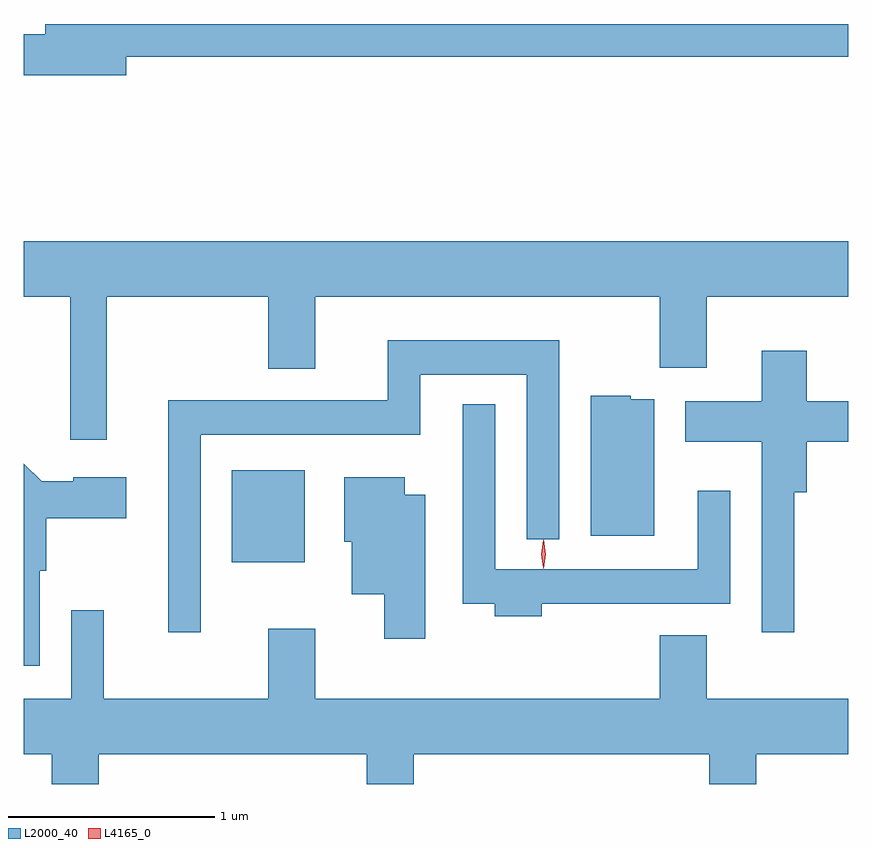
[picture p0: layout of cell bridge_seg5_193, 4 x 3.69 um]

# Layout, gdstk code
import gdstk
lib = gdstk.Library(unit=1e-6, precision=1e-09)
def R(c, l, rs):  # rectangles x0, y0, x1, y1
    for r in rs: c.add(gdstk.rectangle(r[:2], r[2:], *l))
def P(c, l, *ps):  # polygons
    for p in ps: c.add(gdstk.Polygon(p, *l))
L2000_40 = (2000, 40)
L4165_0 = (4165, 0)

bridge_seg5_193 = lib.new_cell('bridge_seg5_193')
R(bridge_seg5_193, L2000_40, [(1289.776,1424.426,1290.129,1424.874)])
P(bridge_seg5_193, L2000_40, [(1289.264,1426.881),(1292.766,1426.881),(1292.766,1427.039),(1288.871,1427.039),(1288.871,1426.989),(1288.766,1426.989),(1288.766,1426.791),(1289.264,1426.791)],
  [(1289.169,1425.716),(1289.951,1425.716),(1289.951,1425.366),(1290.179,1425.366),(1290.179,1425.716),(1291.851,1425.716),(1291.851,1425.371),(1292.079,1425.371),(1292.079,1425.716),(1292.766,1425.716),(1292.766,1425.984),(1288.766,1425.984),(1288.766,1425.716),(1288.991,1425.716),(1288.991,1425.021),(1289.169,1425.021)],
  [(1289.624,1425.046),(1290.689,1425.046),(1290.689,1425.336),(1291.206,1425.336),(1291.206,1424.538),(1291.364,1424.538),(1291.364,1425.504),(1290.531,1425.504),(1290.531,1425.214),(1289.466,1425.214),(1289.466,1424.088),(1289.624,1424.088)],
  [(1292.504,1424.766),(1292.564,1424.766),(1292.564,1425.011),(1292.766,1425.011),(1292.766,1425.209),(1292.564,1425.209),(1292.564,1425.454),(1292.346,1425.454),(1292.346,1425.209),(1291.976,1425.209),(1291.976,1425.011),(1292.346,1425.011),(1292.346,1424.088),(1292.504,1424.088)],
  [(1291.824,1425.219),(1291.71,1425.219),(1291.71,1425.234),(1291.516,1425.234),(1291.516,1424.556),(1291.824,1424.556)],
  [(1291.279,1424.226),(1292.194,1424.226),(1292.194,1424.773),(1292.036,1424.773),(1292.036,1424.394),(1291.054,1424.394),(1291.054,1425.193),(1290.896,1425.193),(1290.896,1424.226),(1291.051,1424.226),(1291.051,1424.166),(1291.279,1424.166)],
  [(1288.844,1424.386),(1288.874,1424.386),(1288.874,1424.641),(1289.264,1424.641),(1289.264,1424.839),(1289.006,1424.839),(1289.006,1424.819),(1288.852,1424.819),(1288.766,1424.905),(1288.766,1423.926),(1288.844,1423.926)],
  [(1290.714,1424.754),(1290.614,1424.754),(1290.614,1424.839),(1290.321,1424.839),(1290.321,1424.526),(1290.356,1424.526),(1290.356,1424.271),(1290.516,1424.271),(1290.516,1424.056),(1290.714,1424.056)],
  [(1289.129,1423.496),(1290.431,1423.496),(1290.431,1423.351),(1290.659,1423.351),(1290.659,1423.496),(1292.091,1423.496),(1292.091,1423.351),(1292.319,1423.351),(1292.319,1423.496),(1292.766,1423.496),(1292.766,1423.764),(1292.079,1423.764),(1292.079,1424.074),(1291.851,1424.074),(1291.851,1423.764),(1290.179,1423.764),(1290.179,1424.104),(1289.951,1424.104),(1289.951,1423.764),(1289.154,1423.764),(1289.154,1424.193),(1288.996,1424.193),(1288.996,1423.764),(1288.766,1423.764),(1288.766,1423.496),(1288.901,1423.496),(1288.901,1423.351),(1289.129,1423.351)])
P(bridge_seg5_193, L4165_0, [(1291.287,1424.399),(1291.286,1424.4),(1291.277,1424.466),(1291.286,1424.533),(1291.287,1424.533),(1291.288,1424.533),(1291.297,1424.466),(1291.288,1424.4)],
  [(1291.289,1424.397),(1291.289,1424.398),(1291.279,1424.467),(1291.288,1424.536),(1291.289,1424.536),(1291.29,1424.536),(1291.299,1424.467),(1291.29,1424.398)])

lib.write_gds('bridge_seg5_193.gds')
